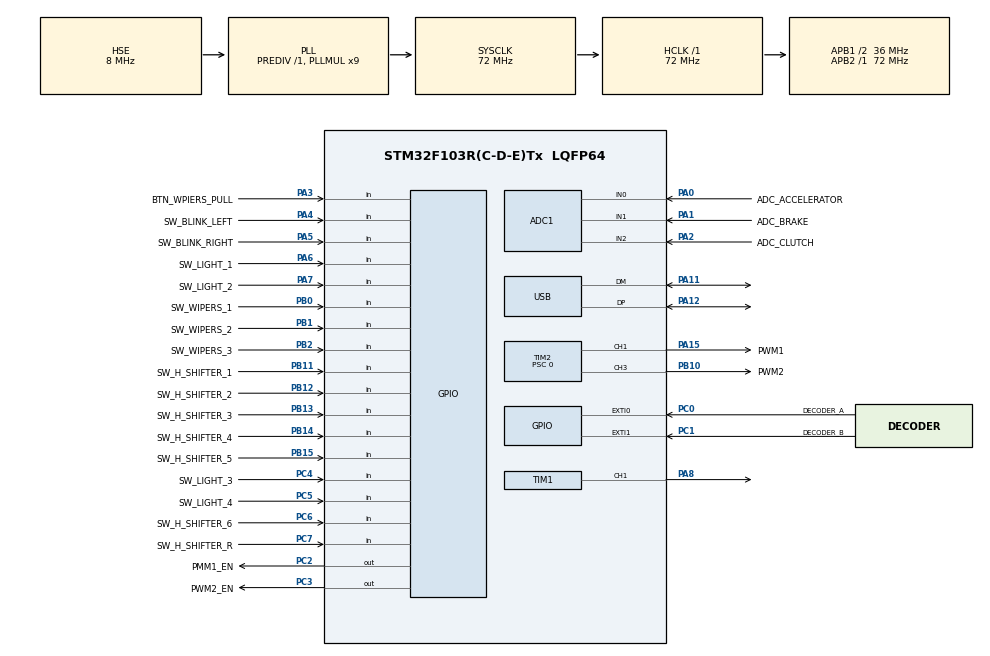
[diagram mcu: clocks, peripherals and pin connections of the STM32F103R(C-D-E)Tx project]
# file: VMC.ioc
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ADC1.Channel-2\#ChannelRegularConversion=ADC_CHANNEL_0
ADC1.Channel-3\#ChannelRegularConversion=ADC_CHANNEL_1
ADC1.Channel-4\#ChannelRegularConversion=ADC_CHANNEL_2
ADC1.ContinuousConvMode=ENABLE
ADC1.DataAlign=ADC_DATAALIGN_RIGHT
ADC1.NbrOfConversion=3
ADC1.NbrOfConversionFlag=1
ADC1.Rank-2\#ChannelRegularConversion=1
ADC1.Rank-3\#ChannelRegularConversion=2
ADC1.Rank-4\#ChannelRegularConversion=3
ADC1.SamplingTime-2\#ChannelRegularConversion=ADC_SAMPLETIME_239CYCLES_5
ADC1.SamplingTime-3\#ChannelRegularConversion=ADC_SAMPLETIME_239CYCLES_5
ADC1.SamplingTime-4\#ChannelRegularConversion=ADC_SAMPLETIME_239CYCLES_5
ADC1.master=1
Dma.ADC1.0.Direction=DMA_PERIPH_TO_MEMORY
Dma.ADC1.0.Instance=DMA1_Channel1
Dma.ADC1.0.MemDataAlignment=DMA_MDATAALIGN_WORD
Dma.ADC1.0.MemInc=DMA_MINC_ENABLE
Dma.ADC1.0.Mode=DMA_CIRCULAR
Dma.ADC1.0.PeriphDataAlignment=DMA_PDATAALIGN_WORD
Dma.ADC1.0.PeriphInc=DMA_PINC_DISABLE
Dma.ADC1.0.Priority=DMA_PRIORITY_LOW
Dma.Request0=ADC1
FREERTOS.MEMORY_ALLOCATION=2
FREERTOS.Tasks01=LEDTask,0,128,StartLEDTask,Default,NULL,Dynamic,NULL,NULL;USBOutputTask,0,512,StartUSBOutputTask,Default,NULL,Dynamic,NULL,NULL;SynthesizerTask,0,256,StartSynthesizerTask,Default,NULL,Dynamic,NULL,NULL;USBInputTask,0,512,StartUSBInputTask,Default,NULL,Dynamic,NULL,NULL
FREERTOS.configTIMER_QUEUE_LENGTH=18
FREERTOS.configTIMER_TASK_PRIORITY=5
FREERTOS.configTOTAL_HEAP_SIZE=8192
FREERTOS.configUSE_NEWLIB_REENTRANT=1
FREERTOS.configUSE_TIMERS=1
Mcu.Family=STM32F1
Mcu.Name=STM32F103R(C-D-E)Tx
Mcu.Package=LQFP64
NVIC.DMA1_Channel1_IRQn=true\:5\:0\:true\:false\:true\:true\:false\:true\:true
NVIC.EXTI0_IRQn=true\:5\:0\:true\:false\:true\:true\:true\:true\:true
NVIC.EXTI1_IRQn=true\:5\:0\:true\:false\:true\:true\:true\:true\:true
NVIC.PriorityGroup=NVIC_PRIORITYGROUP_4
NVIC.TIM3_IRQn=true\:15\:0\:false\:false\:true\:false\:false\:true\:true
NVIC.TIM4_IRQn=true\:5\:0\:false\:false\:true\:true\:true\:true\:true
NVIC.TimeBase=TIM3_IRQn
NVIC.TimeBaseIP=TIM3
NVIC.USB_LP_CAN1_RX0_IRQn=true\:5\:0\:false\:false\:true\:true\:false\:true\:true
PA0-WKUP.GPIO_Label=ADC_ACCELERATOR
PA0-WKUP.Signal=ADCx_IN0
PA1.GPIO_Label=ADC_BRAKE
PA1.Signal=ADCx_IN1
PA11.Mode=Device
PA11.Signal=USB_DM
PA12.Mode=Device
PA12.Signal=USB_DP
PA13.Mode=Trace_Asynchronous_SW
PA13.Signal=SYS_JTMS-SWDIO
PA14.Mode=Trace_Asynchronous_SW
PA14.Signal=SYS_JTCK-SWCLK
PA15.GPIO_Label=PWM1
PA15.Signal=S_TIM2_CH1_ETR
PA2.GPIO_Label=ADC_CLUTCH
PA2.Signal=ADCx_IN2
PA3.GPIO_Label=BTN_WPIERS_PULL
PA3.GPIO_PuPd=GPIO_PULLUP
PA3.Signal=GPIO_Input
PA4.GPIO_Label=SW_BLINK_LEFT
PA4.GPIO_PuPd=GPIO_PULLUP
PA4.Signal=GPIO_Input
PA5.GPIO_Label=SW_BLINK_RIGHT
PA5.GPIO_PuPd=GPIO_PULLUP
PA5.Signal=GPIO_Input
PA6.GPIO_Label=SW_LIGHT_1
PA6.GPIO_PuPd=GPIO_PULLUP
PA6.Signal=GPIO_Input
PA7.GPIO_Label=SW_LIGHT_2
PA7.GPIO_PuPd=GPIO_PULLUP
PA7.Signal=GPIO_Input
PA8.Signal=S_TIM1_CH1
PB0.GPIO_Label=SW_WIPERS_1
PB0.GPIO_PuPd=GPIO_PULLUP
PB0.Signal=GPIO_Input
PB1.GPIO_Label=SW_WIPERS_2
PB1.GPIO_PuPd=GPIO_PULLUP
PB1.Signal=GPIO_Input
PB10.GPIO_Label=PWM2
PB10.Signal=S_TIM2_CH3
PB11.GPIO_Label=SW_H_SHIFTER_1
PB11.GPIO_PuPd=GPIO_PULLUP
PB11.Signal=GPIO_Input
PB12.GPIO_Label=SW_H_SHIFTER_2
PB12.GPIO_PuPd=GPIO_PULLUP
PB12.Signal=GPIO_Input
PB13.GPIO_Label=SW_H_SHIFTER_3
PB13.GPIO_PuPd=GPIO_PULLUP
PB13.Signal=GPIO_Input
PB14.GPIO_Label=SW_H_SHIFTER_4
PB14.GPIO_PuPd=GPIO_PULLUP
PB14.Signal=GPIO_Input
PB15.GPIO_Label=SW_H_SHIFTER_5
PB15.GPIO_PuPd=GPIO_PULLUP
PB15.Signal=GPIO_Input
PB2.GPIO_Label=SW_WIPERS_3
PB2.GPIO_PuPd=GPIO_PULLUP
PB2.Signal=GPIO_Input
PB3.Mode=Trace_Asynchronous_SW
PB3.Signal=SYS_JTDO-TRACESWO
PC0.GPIO_Label=DECODER_A
PC0.GPIO_ModeDefaultEXTI=GPIO_MODE_IT_RISING_FALLING
PC0.GPIO_PuPd=GPIO_PULLUP
PC0.Signal=GPXTI0
PC1.GPIO_Label=DECODER_B
PC1.GPIO_ModeDefaultEXTI=GPIO_MODE_IT_RISING_FALLING
PC1.GPIO_PuPd=GPIO_PULLUP
PC1.Signal=GPXTI1
PC14-OSC32_IN.Mode=LSE-External-Oscillator
PC14-OSC32_IN.Signal=RCC_OSC32_IN
PC15-OSC32_OUT.Mode=LSE-External-Oscillator
PC15-OSC32_OUT.Signal=RCC_OSC32_OUT
PC2.GPIO_Label=PMM1_EN
PC2.GPIO_PuPd=GPIO_PULLUP
PC2.Signal=GPIO_Output
PC3.GPIO_Label=PWM2_EN
PC3.GPIO_PuPd=GPIO_PULLUP
PC3.Signal=GPIO_Output
PC4.GPIO_Label=SW_LIGHT_3
PC4.GPIO_PuPd=GPIO_PULLUP
PC4.Signal=GPIO_Input
PC5.GPIO_Label=SW_LIGHT_4
PC5.GPIO_PuPd=GPIO_PULLUP
PC5.Signal=GPIO_Input
PC6.GPIO_Label=SW_H_SHIFTER_6
PC6.GPIO_PuPd=GPIO_PULLUP
PC6.Signal=GPIO_Input
PC7.GPIO_Label=SW_H_SHIFTER_R
PC7.GPIO_PuPd=GPIO_PULLUP
PC7.Signal=GPIO_Input
PD0-OSC_IN.Mode=HSE-External-Oscillator
PD0-OSC_IN.Signal=RCC_OSC_IN
PD1-OSC_OUT.Mode=HSE-External-Oscillator
PD1-OSC_OUT.Signal=RCC_OSC_OUT
ProjectManager.HeapSize=0x4000
ProjectManager.StackSize=0x4000
ProjectManager.TargetToolchain=STM32CubeIDE
RCC.ADCPresc=RCC_ADCPCLK2_DIV6
RCC.AHBFreq_Value=72000000
RCC.APB1CLKDivider=RCC_HCLK_DIV2
RCC.APB1Freq_Value=36000000
RCC.APB1TimFreq_Value=72000000
RCC.APB2Freq_Value=72000000
RCC.APB2TimFreq_Value=72000000
RCC.HCLKFreq_Value=72000000
RCC.PLLMUL=RCC_PLL_MUL9
RCC.PLLSourceVirtual=RCC_PLLSOURCE_HSE
RCC.SYSCLKFreq_VALUE=72000000
RCC.SYSCLKSource=RCC_SYSCLKSOURCE_PLLCLK
RCC.USBFreq_Value=48000000
RCC.USBPrescaler=RCC_USBCLKSOURCE_PLL_DIV1_5
SH.ADCx_IN0.0=ADC1_IN0,IN0
SH.ADCx_IN1.0=ADC1_IN1,IN1
SH.ADCx_IN2.0=ADC1_IN2,IN2
SH.S_TIM1_CH1.0=TIM1_CH1,PWM Generation1 CH1
SH.S_TIM2_CH1_ETR.0=TIM2_CH1,PWM Generation1 CH1
SH.S_TIM2_CH3.0=TIM2_CH3,PWM Generation3 CH3
TIM1.BreakPolarity=TIM_BREAKPOLARITY_HIGH
TIM1.Channel-PWM\ Generation1\ CH1=TIM_CHANNEL_1
TIM1.OCPolarity_1=TIM_OCPOLARITY_HIGH
TIM1.Period=1000-1
TIM1.Prescaler=72-1
TIM2.Channel-PWM\ Generation1\ CH1=TIM_CHANNEL_1
TIM2.Channel-PWM\ Generation3\ CH3=TIM_CHANNEL_3
TIM2.OCPolarity_1=TIM_OCPOLARITY_HIGH
TIM2.OCPolarity_3=TIM_OCPOLARITY_HIGH
TIM2.Period=3000-1
TIM2.Prescaler=0
TIM2.Pulse-PWM\ Generation1\ CH1=0
TIM4.AutoReloadPreload=TIM_AUTORELOAD_PRELOAD_ENABLE
TIM4.Period=1500-1
TIM4.Prescaler=7200-1
USB_DEVICE.CLASS_NAME_FS=CUSTOM_HID
USB_DEVICE.CUSTOM_HID_FS_BINTERVAL=0x1
USB_DEVICE.MANUFACTURER_STRING=Sab1e Studio
USB_DEVICE.PID_CUSTOMHID_FS=100
USB_DEVICE.PRODUCT_STRING_CUSTOMHID_FS=VMC
USB_DEVICE.USBD_CUSTOMHID_OUTREPORT_BUF_SIZE=64
USB_DEVICE.USBD_CUSTOM_HID_REPORT_DESC_SIZE=941
USB_DEVICE.VID=4660
USB_DEVICE.VirtualMode=CustomHid
USB_DEVICE.VirtualModeFS=Custom_Hid_FS
VP_FREERTOS_VS_CMSIS_V1.Mode=CMSIS_V1
VP_SYS_VS_tim3.Mode=TIM3
VP_TIM1_VS_ClockSourceINT.Mode=Internal
VP_TIM2_VS_ClockSourceINT.Mode=Internal
VP_TIM4_VS_ClockSourceINT.Mode=Internal
VP_USB_DEVICE_VS_USB_DEVICE_CUSTOM_HID_FS.Mode=CUSTOM_HID_FS
board=custom

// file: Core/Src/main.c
/* USER CODE BEGIN Header */
/**
 ******************************************************************************
 * @file           : main.c
 * @brief          : Main program body
 ******************************************************************************
 * @attention
 *
 * Copyright (c) 2024 STMicroelectronics.
 * All rights reserved.
 *
 * This software is licensed under terms that can be found in the LICENSE file
 * in the root directory of this software component.
 * If no LICENSE file comes with this software, it is provided AS-IS.
 *
 ******************************************************************************
 */
/* USER CODE END Header */
#include "main.h"
#include "cmsis_os.h"
#include "usb_device.h"

/* USER CODE BEGIN Includes */

#include "global.h"

extern uint8_t USB_Out_Flag;
extern uint8_t USB_Out_Buffer[USB_OUT_BUFFER_SIZE];

/* USER CODE END Includes */

/* USER CODE BEGIN PD */
//发送报告
#define SendReport(report) \
    USBD_CUSTOM_HID_SendReport(&hUsbDeviceFS, (uint8_t*)&report, sizeof(report))

#define TIM_PERIOD (50 - 1)

#define TOGGLE_LED 		HAL_GPIO_TogglePin(GPIO_LED, GPIO_PIN_LED);

/* USER CODE END PD */

/* USER CODE BEGIN PM */

typedef struct {
	float_t Kp;         // 比例增益
	float_t Ki;         // 积分增益
	float_t Kd;         // 微分增益
	float_t previous_error; // 上一次误差
	float_t integral;   // 积分值
} SL_PID_Controller_t;

typedef struct {
	uint8_t mode;		// 震动模式
	uint16_t delay;		// 震动延迟
	uint8_t coefficient;		// Ramp模式下的震动系数 Ramp模式下震动延迟=系数*角度
} SL_Vibration_Feedback_t;

/* USER CODE END PM */

ADC_HandleTypeDef hadc1;
DMA_HandleTypeDef hdma_adc1;

TIM_HandleTypeDef htim1;
TIM_HandleTypeDef htim2;
TIM_HandleTypeDef htim4;

osThreadId LEDTaskHandle;
osThreadId USBOutputTaskHandle;
osThreadId SynthesizerTaskHandle;
osThreadId USBInputTaskHandle;
/* USER CODE BEGIN PV */

uint32_t adc_values[3];

uint8_t Current_Report_ID = INPUT_REPORT_ID;

// PID控制器实例
SL_PID_Controller_t sl_pid;
// 在合成效果之前初始化PID
float_t SL_KP = 200.0f;
float_t SL_KI = 1.0f;
float_t SL_KD = 1.0f;
uint32_t sl_pid_last_time = 0; // 获取开始时间

SL_Vibration_Feedback_t SL_Vibration_Feedback = { .mode =
				SL_Vibration_Feedback_CONSTANT, .delay = 200, };

float_t angle_per_pulse = 0;
// 初始化踏板限位
Pedal_Limiter_t Pedal_Limiter = { .accelerator_pedal_maximum = ADC_MAX_VALUE,
				.accelerator_pedal_minimum = 0, .brake_pedal_set_maximum =
				ADC_MAX_VALUE, .brake_pedal_set_minimum = 0,
				.clutch_pedal_set_maximum = ADC_MAX_VALUE,
				.clutch_pedal_set_minimum = 0 };

/* USER CODE END PV */

void SystemClock_Config(void);
static void MX_GPIO_Init(void);
static void MX_DMA_Init(void);
static void MX_ADC1_Init(void);
static void MX_TIM2_Init(void);
static void MX_TIM1_Init(void);
static void MX_TIM4_Init(void);
void StartLEDTask(void const *argument);
void StartUSBOutputTask(void const *argument);
void StartSynthesizerTask(void const *argument);
void StartUSBInputTask(void const *argument);

/* USER CODE BEGIN 0 */

// SL = Software  Limiter
void SL_PID_Init(SL_PID_Controller_t *pid, float_t Kp, float_t Ki, float_t Kd) {
	pid->Kp = Kp;
	pid->Ki = Ki;
	pid->Kd = Kd;
	pid->previous_error = 0.0f;
	pid->integral = 0.0f;
}

//PID计算的是角度
float_t SL_PID_Compute(SL_PID_Controller_t *pid, float_t setpoint,
				float_t measured_value, float_t dt) {
	float_t error = setpoint - measured_value;
	pid->integral += error * dt;
	float_t derivative = error - pid->previous_error;
	pid->previous_error = error;

	return pid->Kp * error + pid->Ki * pid->integral + pid->Kd * derivative;
}
void HAL_ADC_ConvCpltCallback(ADC_HandleTypeDef *hadc) {
	if (hadc->Instance == ADC1) {
		uint16_t raw_accelerator = adc_values[0];
		uint16_t raw_brake = adc_values[1];
		uint16_t raw_clutch = adc_values[2];
		// 处理加速踏板
		if (raw_accelerator < Pedal_Limiter.accelerator_pedal_minimum) {
			raw_accelerator = Pedal_Limiter.accelerator_pedal_minimum; // 限位到最小值
		} else if (raw_accelerator > Pedal_Limiter.accelerator_pedal_maximum) {
			raw_accelerator = Pedal_Limiter.accelerator_pedal_maximum; // 限位到最大值
		}
		// 将限位后的值映射到0~4095
		Input_Report.accelerator =
						(uint16_t) ((float) (raw_accelerator
										- Pedal_Limiter.accelerator_pedal_minimum)
										/ (Pedal_Limiter.accelerator_pedal_maximum
														- Pedal_Limiter.accelerator_pedal_minimum)
										* 4095);

		// 处理刹车踏板
		if (raw_brake < Pedal_Limiter.brake_pedal_set_minimum) {
			raw_brake = Pedal_Limiter.brake_pedal_set_minimum; // 限位到最小值
		} else if (raw_brake > Pedal_Limiter.brake_pedal_set_maximum) {
			raw_brake = Pedal_Limiter.brake_pedal_set_maximum; // 限位到最大值
		}
		// 将限位后的值映射到0~4095
		Input_Report.brake = (uint16_t) ((float) (raw_brake
						- Pedal_Limiter.brake_pedal_set_minimum)
						/ (Pedal_Limiter.brake_pedal_set_maximum
										- Pedal_Limiter.brake_pedal_set_minimum)
						* 4095);

		// 处理离合器踏板
		if (raw_clutch < Pedal_Limiter.clutch_pedal_set_minimum) {
			raw_clutch = Pedal_Limiter.clutch_pedal_set_minimum; // 限位到最小值
		} else if (raw_clutch > Pedal_Limiter.clutch_pedal_set_maximum) {
			raw_clutch = Pedal_Limiter.clutch_pedal_set_maximum; // 限位到最大值
		}
		// 将限位后的值映射到0~4095
		Input_Report.clutch =
						(uint16_t) ((float) (raw_clutch
										- Pedal_Limiter.clutch_pedal_set_minimum)
										/ (Pedal_Limiter.clutch_pedal_set_maximum
														- Pedal_Limiter.clutch_pedal_set_minimum)
										* 4095);
	}
}

uint32_t Read_Keys(void) {
	uint32_t key_state = 0;
	//按下是0，没按下是1
	// 检测 雨刮喷水
	key_state |= (GPIOA->IDR & GPIO_PIN_3) ? 0 : (1 << 0);  // PA3
	// 检测 左转向灯
	key_state |= (GPIOA->IDR & GPIO_PIN_4) ? 0 : (1 << 1);  // PA4
	// 检测 右转向灯
	key_state |= (GPIOA->IDR & GPIO_PIN_5) ? 0 : (1 << 2);  // PA5
	/*=================灯光组合==================*/
	// 发送灯光关闭信号
	key_state |= (GPIOA->IDR & GPIO_PIN_6) && (GPIOA->IDR & GPIO_PIN_7)
					&& (GPIOC->IDR & GPIO_PIN_4) && (GPIOC->IDR & GPIO_PIN_5) ?
					(1 << 3) : 0;
	// 发送示宽灯信号（条件：示宽灯开启，且未开启近光灯）
	key_state |= (!(GPIOC->IDR & GPIO_PIN_4) && (GPIOA->IDR & GPIO_PIN_6)
					&& (GPIOA->IDR & GPIO_PIN_7)) ? (1 << 4) : 0;

	// 发送近光灯信号（条件：近光灯开启）
	key_state |= (!(GPIOA->IDR & GPIO_PIN_6)) ? (1 << 5) : 0;

	// 发送远光灯信号（条件：远光灯开启）
	key_state |= (!(GPIOC->IDR & GPIO_PIN_5)) ? (1 << 6) : 0;
	/*==================雨刮器组合==================*/
	// 雨刮器关闭
	key_state |= (!(GPIOB->IDR & GPIO_PIN_0)) && (GPIOB->IDR & GPIO_PIN_1)
					&& (GPIOB->IDR & GPIO_PIN_2) ? (1 << 7) : 0;  // PB0
	// 雨刮器一档
	key_state |= (!(GPIOB->IDR & GPIO_PIN_1)) ? (1 << 8) : 0;  // PB1
	// 雨刮器二挡
	key_state |= (GPIOB->IDR & GPIO_PIN_0) && (GPIOB->IDR & GPIO_PIN_1)
					&& (!(GPIOB->IDR & GPIO_PIN_2)) ? (1 << 9) : 0;  // PB2
	// 雨刮器三挡
	key_state |= (GPIOB->IDR & GPIO_PIN_2) && (GPIOB->IDR & GPIO_PIN_0)
					&& (GPIOB->IDR & GPIO_PIN_1) ? (1 << 10) : 0;  // PB2
	/*==================H档位组合==================*/
	// 检测 PB11
	key_state |= (GPIOB->IDR & GPIO_PIN_11) ? 0 : (1 << 11);  // PB11
	// 检测 PB12
	key_state |= (GPIOB->IDR & GPIO_PIN_12) ? 0 : (1 << 12);  // PB12
	// 检测 PB13
	key_state |= (GPIOB->IDR & GPIO_PIN_13) ? 0 : (1 << 13);  // PB13
	// 检测 PB14
	key_state |= (GPIOB->IDR & GPIO_PIN_14) ? 0 : (1 << 14);  // PB14
	// 检测 PB15
	key_state |= (GPIOB->IDR & GPIO_PIN_15) ? 0 : (1 << 15);  // PB15

	// 检测 PC6
	key_state |= (GPIOC->IDR & GPIO_PIN_6) ? 0 : (1 << 16);  // PC6
	// 检测 PC7
	key_state |= (GPIOC->IDR & GPIO_PIN_7) ? 0 : (1 << 17);  // PC7

	return key_state;
}

/**
 * @brief 处理编码器的引脚状态发生变化时的回调
 * @param GPIO_Pin 触发回调的引脚
 * @return 无返回
 */
void HAL_GPIO_EXTI_Callback(uint16_t GPIO_Pin) {
	uint8_t current_state;

	if (GPIO_Pin == GPIO_PIN_DECODER_A || GPIO_Pin == GPIO_PIN_DECODER_B) {
		current_state = ((GPIO_DECODER_A->IDR & GPIO_PIN_DECODER_A) ? 1 : 0)
						<< 1
						| (GPIO_DECODER_B->IDR & GPIO_PIN_DECODER_B ? 1 : 0);

		// 根据状态变化更新脉冲计数
		switch (Steering_Wheel.encoder.previous_state) {
		case 0b00:
			if (current_state == 0b01)
				Steering_Wheel.encoder.pulse_count++;  // A上升
			else if (current_state == 0b10)
				Steering_Wheel.encoder.pulse_count--; // B上升
			break;
		case 0b01:
			if (current_state == 0b11)
				Steering_Wheel.encoder.pulse_count++;  // A保持，B上升
			else if (current_state == 0b00)
				Steering_Wheel.encoder.pulse_count--; // B下降
			break;
		case 0b11:
			if (current_state == 0b10)
				Steering_Wheel.encoder.pulse_count++;  // B下降
			else if (current_state == 0b01)
				Steering_Wheel.encoder.pulse_count--; // A下降
			break;
		case 0b10:
			if (current_state == 0b00)
				Steering_Wheel.encoder.pulse_count++;  // B保持，A下降
			else if (current_state == 0b11)
				Steering_Wheel.encoder.pulse_count--; // A上升
			break;
		}

		Steering_Wheel.encoder.previous_state = current_state;  // 更新状态
	}
}

// 通用的函数：设置 uint16 类型并限制范围
void CMD_Set_uint16(uint16_t *param, uint16_t min, uint16_t max,
				uint16_t *target) {
	*param = (*param < min) ? min : (*param > max) ? max : *param;
	*target = *param;
}

// 通用的函数：设置 float 类型并限制范围
void CMD_Set_float_from_buffer(uint8_t *USB_Out_Buffer, size_t start_idx,
				float_t min, float_t max, float_t *target) {
	// 从 USB_Out_Buffer 中读取 4 个字节到浮点数
	float_t parameter;
	memcpy(&parameter, &USB_Out_Buffer[start_idx], sizeof(parameter));

	// 限制 parameter 在 min 和 max 之间
	*target = (parameter < min) ? min : (parameter > max) ? max : parameter;
}

// 用于从字节数组获取参数的函数
uint64_t Get_uint64_from_buffer(uint8_t *USB_Out_Buffer, size_t start_idx) {
	return USB_Out_Buffer[start_idx] | (USB_Out_Buffer[start_idx + 1] << 8)
					| (USB_Out_Buffer[start_idx + 2] << 16)
					| (USB_Out_Buffer[start_idx + 3] << 24);
}
/*==================软限位使用的PID==================*/

/* USER CODE END 0 */

int main(void) {

	/* MCU Configuration--------------------------------------------------------*/

	/* Reset of all peripherals, Initializes the Flash interface and the Systick. */
	HAL_Init();

	/* Configure the system clock */
	SystemClock_Config();

	/* Initialize all configured peripherals */
	MX_GPIO_Init();
	MX_DMA_Init();
	MX_ADC1_Init();
	MX_TIM2_Init();
	MX_TIM1_Init();
	MX_TIM4_Init();
	/* USER CODE BEGIN 2 */
	HAL_GPIO_WritePin(GPIO_PWM1, GPIO_PIN_PWM1, GPIO_PIN_RESET);
	HAL_GPIO_WritePin(GPIO_PWM2, GPIO_PIN_PWM2, GPIO_PIN_RESET);
	HAL_TIM_Base_Start_IT(&htim4); // 启动定时器并使能中断
	HAL_TIM_PWM_Start(&htim1, TIM_CHANNEL_1);
	/* USER CODE END 2 */

	/* Create the thread(s) */
	/* definition and creation of LEDTask */
	osThreadDef(LEDTask, StartLEDTask, osPriorityNormal, 0, 128);
	LEDTaskHandle = osThreadCreate(osThread(LEDTask), NULL);

	/* definition and creation of USBOutputTask */
	osThreadDef(USBOutputTask, StartUSBOutputTask, osPriorityNormal, 0, 512);
	USBOutputTaskHandle = osThreadCreate(osThread(USBOutputTask), NULL);

	/* definition and creation of SynthesizerTask */
	osThreadDef(SynthesizerTask, StartSynthesizerTask, osPriorityNormal, 0,
					256);
	SynthesizerTaskHandle = osThreadCreate(osThread(SynthesizerTask), NULL);

	/* definition and creation of USBInputTask */
	osThreadDef(USBInputTask, StartUSBInputTask, osPriorityNormal, 0, 512);
	USBInputTaskHandle = osThreadCreate(osThread(USBInputTask), NULL);

	/* USER CODE BEGIN RTOS_THREADS */
	/* add threads, ... */
//  Start_ADC_DMA();
//  HAL_TIM_PWM_Start(&htim2, TIM_CHANNEL_1);
//  HAL_TIM_PWM_Start(&htim2, TIM_CHANNEL_3);
	/* USER CODE END RTOS_THREADS */

	/* Start scheduler */
	osKernelStart();

	/* We should never get here as control is now taken by the scheduler */

	/* Infinite loop */
	while (1) {

	}
}

void SystemClock_Config(void) {
	RCC_OscInitTypeDef RCC_OscInitStruct = { 0 };
	RCC_ClkInitTypeDef RCC_ClkInitStruct = { 0 };
	RCC_PeriphCLKInitTypeDef PeriphClkInit = { 0 };

	/** Initializes the RCC Oscillators according to the specified parameters
	 * in the RCC_OscInitTypeDef structure.
	 */
	RCC_OscInitStruct.OscillatorType = RCC_OSCILLATORTYPE_HSE;
	RCC_OscInitStruct.HSEState = RCC_HSE_ON;
	RCC_OscInitStruct.HSEPredivValue = RCC_HSE_PREDIV_DIV1;
	RCC_OscInitStruct.HSIState = RCC_HSI_ON;
	RCC_OscInitStruct.PLL.PLLState = RCC_PLL_ON;
	RCC_OscInitStruct.PLL.PLLSource = RCC_PLLSOURCE_HSE;
	RCC_OscInitStruct.PLL.PLLMUL = RCC_PLL_MUL9;
	if (HAL_RCC_OscConfig(&RCC_OscInitStruct) != HAL_OK) {
		Error_Handler();
	}

	/** Initializes the CPU, AHB and APB buses clocks
	 */
	RCC_ClkInitStruct.ClockType = RCC_CLOCKTYPE_HCLK | RCC_CLOCKTYPE_SYSCLK
					| RCC_CLOCKTYPE_PCLK1 | RCC_CLOCKTYPE_PCLK2;
	RCC_ClkInitStruct.SYSCLKSource = RCC_SYSCLKSOURCE_PLLCLK;
	RCC_ClkInitStruct.AHBCLKDivider = RCC_SYSCLK_DIV1;
	RCC_ClkInitStruct.APB1CLKDivider = RCC_HCLK_DIV2;
	RCC_ClkInitStruct.APB2CLKDivider = RCC_HCLK_DIV1;

	if (HAL_RCC_ClockConfig(&RCC_ClkInitStruct, FLASH_LATENCY_2) != HAL_OK) {
		Error_Handler();
	}
	PeriphClkInit.PeriphClockSelection = RCC_PERIPHCLK_ADC | RCC_PERIPHCLK_USB;
	PeriphClkInit.AdcClockSelection = RCC_ADCPCLK2_DIV6;
	PeriphClkInit.UsbClockSelection = RCC_USBCLKSOURCE_PLL_DIV1_5;
	if (HAL_RCCEx_PeriphCLKConfig(&PeriphClkInit) != HAL_OK) {
		Error_Handler();
	}
}

static void MX_ADC1_Init(void) {

	ADC_ChannelConfTypeDef sConfig = { 0 };

	/** Common config
	 */
	hadc1.Instance = ADC1;
	hadc1.Init.ScanConvMode = ADC_SCAN_ENABLE;
	hadc1.Init.ContinuousConvMode = ENABLE;
	hadc1.Init.DiscontinuousConvMode = DISABLE;
	hadc1.Init.ExternalTrigConv = ADC_SOFTWARE_START;
	hadc1.Init.DataAlign = ADC_DATAALIGN_RIGHT;
	hadc1.Init.NbrOfConversion = 3;
	if (HAL_ADC_Init(&hadc1) != HAL_OK) {
		Error_Handler();
	}

	/** Configure Regular Channel
	 */
	sConfig.Channel = ADC_CHANNEL_0;
	sConfig.Rank = ADC_REGULAR_RANK_1;
	sConfig.SamplingTime = ADC_SAMPLETIME_239CYCLES_5;
	if (HAL_ADC_ConfigChannel(&hadc1, &sConfig) != HAL_OK) {
		Error_Handler();
	}

	/** Configure Regular Channel
	 */
	sConfig.Channel = ADC_CHANNEL_1;
	sConfig.Rank = ADC_REGULAR_RANK_2;
	if (HAL_ADC_ConfigChannel(&hadc1, &sConfig) != HAL_OK) {
		Error_Handler();
	}

	/** Configure Regular Channel
	 */
	sConfig.Channel = ADC_CHANNEL_2;
	sConfig.Rank = ADC_REGULAR_RANK_3;
	if (HAL_ADC_ConfigChannel(&hadc1, &sConfig) != HAL_OK) {
		Error_Handler();
	}

}

static void MX_TIM1_Init(void) {

	TIM_ClockConfigTypeDef sClockSourceConfig = { 0 };
	TIM_MasterConfigTypeDef sMasterConfig = { 0 };
	TIM_OC_InitTypeDef sConfigOC = { 0 };
	TIM_BreakDeadTimeConfigTypeDef sBreakDeadTimeConfig = { 0 };

	htim1.Instance = TIM1;
	htim1.Init.Prescaler = 72 - 1;
	htim1.Init.CounterMode = TIM_COUNTERMODE_UP;
	htim1.Init.Period = 1000 - 1;
	htim1.Init.ClockDivision = TIM_CLOCKDIVISION_DIV1;
	htim1.Init.RepetitionCounter = 0;
	htim1.Init.AutoReloadPreload = TIM_AUTORELOAD_PRELOAD_DISABLE;
	if (HAL_TIM_Base_Init(&htim1) != HAL_OK) {
		Error_Handler();
	}
	sClockSourceConfig.ClockSource = TIM_CLOCKSOURCE_INTERNAL;
	if (HAL_TIM_ConfigClockSource(&htim1, &sClockSourceConfig) != HAL_OK) {
		Error_Handler();
	}
	if (HAL_TIM_PWM_Init(&htim1) != HAL_OK) {
		Error_Handler();
	}
	sMasterConfig.MasterOutputTrigger = TIM_TRGO_RESET;
	sMasterConfig.MasterSlaveMode = TIM_MASTERSLAVEMODE_DISABLE;
	if (HAL_TIMEx_MasterConfigSynchronization(&htim1, &sMasterConfig)
					!= HAL_OK) {
		Error_Handler();
	}
	sConfigOC.OCMode = TIM_OCMODE_PWM1;
	sConfigOC.Pulse = 0;
	sConfigOC.OCPolarity = TIM_OCPOLARITY_HIGH;
	sConfigOC.OCNPolarity = TIM_OCNPOLARITY_HIGH;
	sConfigOC.OCFastMode = TIM_OCFAST_DISABLE;
	sConfigOC.OCIdleState = TIM_OCIDLESTATE_RESET;
	sConfigOC.OCNIdleState = TIM_OCNIDLESTATE_RESET;
	if (HAL_TIM_PWM_ConfigChannel(&htim1, &sConfigOC, TIM_CHANNEL_1)
					!= HAL_OK) {
		Error_Handler();
	}
	sBreakDeadTimeConfig.OffStateRunMode = TIM_OSSR_DISABLE;
	sBreakDeadTimeConfig.OffStateIDLEMode = TIM_OSSI_DISABLE;
	sBreakDeadTimeConfig.LockLevel = TIM_LOCKLEVEL_OFF;
	sBreakDeadTimeConfig.DeadTime = 0;
	sBreakDeadTimeConfig.BreakState = TIM_BREAK_DISABLE;
	sBreakDeadTimeConfig.BreakPolarity = TIM_BREAKPOLARITY_HIGH;
	sBreakDeadTimeConfig.AutomaticOutput = TIM_AUTOMATICOUTPUT_DISABLE;
	if (HAL_TIMEx_ConfigBreakDeadTime(&htim1, &sBreakDeadTimeConfig)
					!= HAL_OK) {
		Error_Handler();
	}
	HAL_TIM_MspPostInit(&htim1);

}

static void MX_TIM2_Init(void) {

	TIM_ClockConfigTypeDef sClockSourceConfig = { 0 };
	TIM_MasterConfigTypeDef sMasterConfig = { 0 };
	TIM_OC_InitTypeDef sConfigOC = { 0 };

	htim2.Instance = TIM2;
	htim2.Init.Prescaler = 0;
	htim2.Init.CounterMode = TIM_COUNTERMODE_UP;
	htim2.Init.Period = 3000 - 1;
	htim2.Init.ClockDivision = TIM_CLOCKDIVISION_DIV1;
	htim2.Init.AutoReloadPreload = TIM_AUTORELOAD_PRELOAD_DISABLE;
	if (HAL_TIM_Base_Init(&htim2) != HAL_OK) {
		Error_Handler();
	}
	sClockSourceConfig.ClockSource = TIM_CLOCKSOURCE_INTERNAL;
	if (HAL_TIM_ConfigClockSource(&htim2, &sClockSourceConfig) != HAL_OK) {
		Error_Handler();
	}
	if (HAL_TIM_PWM_Init(&htim2) != HAL_OK) {
		Error_Handler();
	}
	sMasterConfig.MasterOutputTrigger = TIM_TRGO_RESET;
	sMasterConfig.MasterSlaveMode = TIM_MASTERSLAVEMODE_DISABLE;
	if (HAL_TIMEx_MasterConfigSynchronization(&htim2, &sMasterConfig)
					!= HAL_OK) {
		Error_Handler();
	}
	sConfigOC.OCMode = TIM_OCMODE_PWM1;
	sConfigOC.Pulse = 0;
	sConfigOC.OCPolarity = TIM_OCPOLARITY_HIGH;
	sConfigOC.OCFastMode = TIM_OCFAST_DISABLE;
	if (HAL_TIM_PWM_ConfigChannel(&htim2, &sConfigOC, TIM_CHANNEL_1)
					!= HAL_OK) {
		Error_Handler();
	}
	if (HAL_TIM_PWM_ConfigChannel(&htim2, &sConfigOC, TIM_CHANNEL_3)
					!= HAL_OK) {
		Error_Handler();
	}
	HAL_TIM_MspPostInit(&htim2);

}

static void MX_TIM4_Init(void) {

	TIM_ClockConfigTypeDef sClockSourceConfig = { 0 };
	TIM_MasterConfigTypeDef sMasterConfig = { 0 };

	htim4.Instance = TIM4;
	htim4.Init.Prescaler = 7200 - 1;
	htim4.Init.CounterMode = TIM_COUNTERMODE_UP;
	htim4.Init.Period = 1500 - 1;
	htim4.Init.ClockDivision = TIM_CLOCKDIVISION_DIV1;
	htim4.Init.AutoReloadPreload = TIM_AUTORELOAD_PRELOAD_ENABLE;
	if (HAL_TIM_Base_Init(&htim4) != HAL_OK) {
		Error_Handler();
	}
	sClockSourceConfig.ClockSource = TIM_CLOCKSOURCE_INTERNAL;
	if (HAL_TIM_ConfigClockSource(&htim4, &sClockSourceConfig) != HAL_OK) {
		Error_Handler();
	}
	sMasterConfig.MasterOutputTrigger = TIM_TRGO_RESET;
	sMasterConfig.MasterSlaveMode = TIM_MASTERSLAVEMODE_DISABLE;
	if (HAL_TIMEx_MasterConfigSynchronization(&htim4, &sMasterConfig)
					!= HAL_OK) {
		Error_Handler();
	}

}

static void MX_DMA_Init(void) {

	/* DMA controller clock enable */
	__HAL_RCC_DMA1_CLK_ENABLE();

	/* DMA interrupt init */
	/* DMA1_Channel1_IRQn interrupt configuration */
	HAL_NVIC_SetPriority(DMA1_Channel1_IRQn, 5, 0);
	HAL_NVIC_EnableIRQ(DMA1_Channel1_IRQn);

}

static void MX_GPIO_Init(void) {
	GPIO_InitTypeDef GPIO_InitStruct = { 0 };

	/* GPIO Ports Clock Enable */
	__HAL_RCC_GPIOC_CLK_ENABLE();
	__HAL_RCC_GPIOD_CLK_ENABLE();
	__HAL_RCC_GPIOA_CLK_ENABLE();
	__HAL_RCC_GPIOB_CLK_ENABLE();

	/*Configure GPIO pin Output Level */
	HAL_GPIO_WritePin(GPIOC, PMM1_EN_Pin | PWM2_EN_Pin, GPIO_PIN_RESET);

	/*Configure GPIO pins : DECODER_A_Pin DECODER_B_Pin */
	GPIO_InitStruct.Pin = DECODER_A_Pin | DECODER_B_Pin;
	GPIO_InitStruct.Mode = GPIO_MODE_IT_RISING_FALLING;
	GPIO_InitStruct.Pull = GPIO_PULLUP;
	HAL_GPIO_Init(GPIOC, &GPIO_InitStruct);

	/*Configure GPIO pins : PMM1_EN_Pin PWM2_EN_Pin */
	GPIO_InitStruct.Pin = PMM1_EN_Pin | PWM2_EN_Pin;
	GPIO_InitStruct.Mode = GPIO_MODE_OUTPUT_PP;
	GPIO_InitStruct.Pull = GPIO_PULLUP;
	GPIO_InitStruct.Speed = GPIO_SPEED_FREQ_LOW;
	HAL_GPIO_Init(GPIOC, &GPIO_InitStruct);

	/*Configure GPIO pins : BTN_WPIERS_PULL_Pin SW_BLINK_LEFT_Pin SW_BLINK_RIGHT_Pin SW_LIGHT_1_Pin
	 SW_LIGHT_2_Pin */
	GPIO_InitStruct.Pin = BTN_WPIERS_PULL_Pin | SW_BLINK_LEFT_Pin
					| SW_BLINK_RIGHT_Pin | SW_LIGHT_1_Pin | SW_LIGHT_2_Pin;
	GPIO_InitStruct.Mode = GPIO_MODE_INPUT;
	GPIO_InitStruct.Pull = GPIO_PULLUP;
	HAL_GPIO_Init(GPIOA, &GPIO_InitStruct);

	/*Configure GPIO pins : SW_LIGHT_3_Pin SW_LIGHT_4_Pin SW_H_SHIFTER_6_Pin SW_H_SHIFTER_R_Pin */
	GPIO_InitStruct.Pin = SW_LIGHT_3_Pin | SW_LIGHT_4_Pin | SW_H_SHIFTER_6_Pin
					| SW_H_SHIFTER_R_Pin;
	GPIO_InitStruct.Mode = GPIO_MODE_INPUT;
	GPIO_InitStruct.Pull = GPIO_PULLUP;
	HAL_GPIO_Init(GPIOC, &GPIO_InitStruct);

	/*Configure GPIO pins : SW_WIPERS_1_Pin SW_WIPERS_2_Pin SW_WIPERS_3_Pin SW_H_SHIFTER_1_Pin
	 SW_H_SHIFTER_2_Pin SW_H_SHIFTER_3_Pin SW_H_SHIFTER_4_Pin SW_H_SHIFTER_5_Pin */
	GPIO_InitStruct.Pin = SW_WIPERS_1_Pin | SW_WIPERS_2_Pin | SW_WIPERS_3_Pin
					| SW_H_SHIFTER_1_Pin | SW_H_SHIFTER_2_Pin
					| SW_H_SHIFTER_3_Pin | SW_H_SHIFTER_4_Pin
					| SW_H_SHIFTER_5_Pin;
	GPIO_InitStruct.Mode = GPIO_MODE_INPUT;
	GPIO_InitStruct.Pull = GPIO_PULLUP;
	HAL_GPIO_Init(GPIOB, &GPIO_InitStruct);

	/* EXTI interrupt init*/
	HAL_NVIC_SetPriority(EXTI0_IRQn, 5, 0);
	HAL_NVIC_EnableIRQ(EXTI0_IRQn);

	HAL_NVIC_SetPriority(EXTI1_IRQn, 5, 0);
	HAL_NVIC_EnableIRQ(EXTI1_IRQn);

}

void StartLEDTask(void const *argument) {
	/* init code for USB_DEVICE */
	MX_USB_DEVICE_Init();
	/* USER CODE BEGIN 5 */
	uint32_t duty_cycle = 0;   // 当前占空比值
	int32_t step = 10;         // 每次调整的步长
	/* Infinite loop */
	for (;;) {
		osDelay(15);
		// 设置当前占空比
		__HAL_TIM_SET_COMPARE(&htim1, TIM_CHANNEL_1, duty_cycle);

		// 调整占空比
		duty_cycle += step;

		// 检查是否达到上下限，改变方向
		if (duty_cycle >= htim1.Init.Period || duty_cycle <= 0) {
			step = -step; // 反向调整
		}
//		Calculate_Instantaneous_Angular_Velocity(0.001f);
//		SendReport(Effect_Parameter_Block_Load_Report);

//		SendReport(Input_Report);
//		Input_Report.buttons+=1;
	}
	/* USER CODE END 5 */
}

void StartUSBOutputTask(void const *argument) {
	/* USER CODE BEGIN StartUSBOutputTask */
	/* Infinite loop */
	for (;;) {
		if (USB_Out_Flag) {

			switch (USB_Out_Buffer[0]) {
			case SET_EFFECT_REPORT_ID:
				// 设置Effect Types报告
				Set_Effect_Parameter((uint8_t) USB_Out_Buffer[1],
								(Effect_TypeDef) USB_Out_Buffer[2],
								(uint16_t) (fabs(
												(USB_Out_Buffer[3]
																| (USB_Out_Buffer[4]
																				<< 8)))
												>= 30001 ?
												DURATION_INFINITE :
												(USB_Out_Buffer[3]
																| (USB_Out_Buffer[4]
																				<< 8))),
								(uint8_t) USB_Out_Buffer[5],
								(uint8_t) USB_Out_Buffer[6],
								(uint16_t) (USB_Out_Buffer[7]
												| (USB_Out_Buffer[8] << 8)),
								(uint8_t) USB_Out_Buffer[9],
								(uint8_t) USB_Out_Buffer[10],
								(uint8_t) USB_Out_Buffer[11],
								(uint8_t) USB_Out_Buffer[12]);

				break;

			case ENVELOPE_REPORT_ID:
				// 设置Envelope报告

				Add_Envelope_PB((uint8_t) USB_Out_Buffer[1],
								(uint8_t) USB_Out_Buffer[2],
								(uint8_t) USB_Out_Buffer[3],
								(uint8_t) USB_Out_Buffer[4],
								(uint8_t) USB_Out_Buffer[5]);
				break;

			case CONDITION_REPORT_ID:
				// 设置Condition报告
				Add_Condition_PB((uint8_t) USB_Out_Buffer[1],
								(int16_t) (USB_Out_Buffer[2]
												| (USB_Out_Buffer[3] << 8)),
								(int16_t) (USB_Out_Buffer[4]
												| (USB_Out_Buffer[5] << 8)),
								(int16_t) (USB_Out_Buffer[6]
												| (USB_Out_Buffer[7] << 8)),
								(uint16_t) (USB_Out_Buffer[8]
												| (USB_Out_Buffer[9] << 8)),
								(uint16_t) (USB_Out_Buffer[10]
												| (USB_Out_Buffer[11] << 8)),
								(uint16_t) (USB_Out_Buffer[12]
												| (USB_Out_Buffer[13] << 8)));
				break;

			case PERIODIC_REPORT_ID:
				// 设置Periodic报告
				Add_Periodic_PB((uint8_t) USB_Out_Buffer[1],
								(uint8_t) USB_Out_Buffer[2],
								(uint16_t) (USB_Out_Buffer[3]
												| (USB_Out_Buffer[4] << 8)),
								(int16_t) (USB_Out_Buffer[5]
												| (USB_Out_Buffer[6] << 8)),
								(uint16_t) (USB_Out_Buffer[7]
												| (USB_Out_Buffer[8] << 8)));
				break;

			case CONSTANT_FORCE_REPORT_ID:
				// 设置Constant-Force报告
				Add_Constant_Force_PB((uint8_t) USB_Out_Buffer[1],
								(int16_t) (USB_Out_Buffer[2]
												| (USB_Out_Buffer[3] << 8)));
				break;
			case RAMP_FROCE_REPORT_ID:
				Add_Ramp_Force_PB((uint8_t) USB_Out_Buffer[1],
								(uint16_t) (USB_Out_Buffer[2]
												| (USB_Out_Buffer[3] << 8)),
								(uint16_t) (USB_Out_Buffer[4]
												| (USB_Out_Buffer[5] << 8)));
				break;
			case EFFECT_OPERATION_REPORT_ID:
				//设置Effect的操作报告
				if (USB_Out_Buffer[2] == 1) {
					//Op Effect Begin
					OP_Effect_Start(USB_Out_Buffer[1], USB_Out_Buffer[3]);
				} else if (USB_Out_Buffer[2] == 2) {
					//Op Effect Begin Solo
					OP_Effect_Start_Solo(USB_Out_Buffer[1], USB_Out_Buffer[3]);
				} else if (USB_Out_Buffer[2] == 3) {
					//Op Effect Stop
					OP_Effect_Stop(USB_Out_Buffer[1]);
				}
				break;
			case PID_DEVICE_CONTROL_REPORT_ID:
				//设置PID Device Control

				if ((USB_Out_Buffer[1] >> 0) & 1) {
					//启动所有设备执行器
					DC_Enable_Actuators();
				} else if ((USB_Out_Buffer[1] >> 1) & 1) {
					//关闭所有设备执行器
					DC_Disable_Actuators();
				} else if ((USB_Out_Buffer[1] >> 2) & 1) {
					//停止所有正在进行的Effect
					DC_Effect_Stop_All();
				} else if ((USB_Out_Buffer[1] >> 3) & 1) {
					//清除任何设备暂停状态，启用所有执行器并清除内存中的所有效果。
					DC_Reset();
				} else if ((USB_Out_Buffer[1] >> 4) & 1) {
					//设备上的所有效果都会在当前帧暂停。
					DC_Effect_Pause();
				} else if ((USB_Out_Buffer[1] >> 5) & 1) {
					//设备暂停时运行的所有效果都会从上一个帧重新启动。
					DC_Effect_Continue();
				}

				break;
				//			case CREATE_NEW_EFFECT_PARAMETER_BLOCK_ID:
				//				// 配置Create New Effect Parameter Block Report
				//				//在usbd_custom_hid_if.c中配置
				//				break;
			case EFFECT_PARAMETER_BLOCK_FREE_REPORT_ID:
				//配置Effect Parameter Block Free Report
				Free_Effect_PB(USB_Out_Buffer[1]);
				break;
//			case EFFECT_PARAMETER_BLOCK_LOAD_REPORT_ID:
//				//配置Effect Parameter Block Load Report
//				//在usbd_custom_hid_if.c中配置
//				break;
			case DEVICE_GAIN_REPORT_ID:
				//配置Device Gain Report
				Synthesizer_Global_Gain = (USB_Out_Buffer[2] << 8)
								| USB_Out_Buffer[1];
				break;
			case VMC_REPORT_ID:
				// VMC参数配置相关
				uint64_t Command = USB_Out_Buffer[1];
				uint64_t Parameter = Get_uint64_from_buffer(USB_Out_Buffer, 2); // 获取从 USB 收到的 4 字节参数

				switch (Command) {
				case cmd_steering_wheel_set_center:
					Steering_Wheel.current_angle = 0;
					Steering_Wheel.encoder.pulse_count = 0;
					break;

				case cmd_steering_wheel_set_rotation_range:
					// 处理最大最小值
					Parameter = (uint16_t) Parameter < 30 ? 30U :
								(uint16_t) Parameter > UINT16_MAX ?
												UINT16_MAX :
												(uint16_t) Parameter;
					Steering_Wheel.rotation_range = (uint16_t) Parameter;
					Steering_Wheel.encoder.max_pulses =
									(Steering_Wheel.rotation_range
													* Steering_Wheel.encoder.pulse)
													/ 180;
					break;

				case cmd_steering_wheel_encoder_set_pulse:
					// 处理最大最小值
					Parameter = (uint16_t) Parameter <= 10 ? 10U :
								(uint16_t) Parameter > UINT16_MAX ?
												UINT16_MAX :
												(uint16_t) Parameter;
					Steering_Wheel.encoder.pulse = (uint16_t) Parameter;
					angle_per_pulse = (float_t) (360.0
									/ (Steering_Wheel.encoder.pulse * 4.0));
					break;

				case cmd_accelerator_pedal_set_maximum:
					CMD_Set_uint16((uint16_t*) &Parameter, 0U, UINT16_MAX,
									&Pedal_Limiter.accelerator_pedal_maximum);
					break;

				case cmd_accelerator_pedal_set_minimum:
					CMD_Set_uint16((uint16_t*) &Parameter, 0U, UINT16_MAX,
									&Pedal_Limiter.accelerator_pedal_minimum);
					break;

				case cmd_brake_pedal_set_maximum:
					CMD_Set_uint16((uint16_t*) &Parameter, 0U, UINT16_MAX,
									&Pedal_Limiter.brake_pedal_set_maximum);
					break;

				case cmd_brake_pedal_set_minimum:
					CMD_Set_uint16((uint16_t*) &Parameter, 0U, UINT16_MAX,
									&Pedal_Limiter.brake_pedal_set_minimum);
					break;

				case cmd_clutch_pedal_set_maximum:
					CMD_Set_uint16((uint16_t*) &Parameter, 0U, UINT16_MAX,
									&Pedal_Limiter.clutch_pedal_set_maximum);
					break;

				case cmd_clutch_pedal_set_minimum:
					CMD_Set_uint16((uint16_t*) &Parameter, 0U, UINT16_MAX,
									&Pedal_Limiter.clutch_pedal_set_minimum);
					break;

				case cmd_effect_gain_controller_set_spring_gain:
					CMD_Set_uint16((uint16_t*) &Parameter, 0U, UINT16_MAX,
									&Effect_Gain_Controller.spring_gain);
					break;

				case cmd_effect_gain_controller_set_damper_gain:
					CMD_Set_uint16((uint16_t*) &Parameter, 0U, UINT16_MAX,
									&Effect_Gain_Controller.damper_gain);
					break;

				case cmd_effect_gain_controller_set_friction_gain:
					CMD_Set_uint16((uint16_t*) &Parameter, 0U, UINT16_MAX,
									&Effect_Gain_Controller.friction_gain);
					break;

				case cmd_effect_gain_controller_set_inertia_gain:
					CMD_Set_uint16((uint16_t*) &Parameter, 0U, UINT16_MAX,
									&Effect_Gain_Controller.inertia_gain);
					break;

				case cmd_effect_limiter_set_inertia_limiter:
					CMD_Set_float_from_buffer(USB_Out_Buffer, 2, 0.0f,
					FLT_MAX, &Effect_Limiter.inertia_limiter);
					break;

				case cmd_effect_set_spring_kp:
					CMD_Set_float_from_buffer(USB_Out_Buffer, 2, 0.0f,
					FLT_MAX, &Spring_Kp);
					Spring_PID_Init(&spring_pid, Spring_Kp, Spring_Ki,
									Spring_Kd);
					break;

				case cmd_effect_set_spring_ki:
					CMD_Set_float_from_buffer(USB_Out_Buffer, 2, 0.0f,
					FLT_MAX, &Spring_Ki);
					Spring_PID_Init(&spring_pid, Spring_Kp, Spring_Ki,
									Spring_Kd);
					break;

				case cmd_effect_set_spring_kd:
					CMD_Set_float_from_buffer(USB_Out_Buffer, 2, 0.0f,
					FLT_MAX, &Spring_Kd);
					Spring_PID_Init(&spring_pid, Spring_Kp, Spring_Ki,
									Spring_Kd);
					break;

				case cmd_steering_wheel_software_limiter_set_kp:
					CMD_Set_float_from_buffer(USB_Out_Buffer, 2, 0.0f,
					FLT_MAX, &SL_KP);
					SL_PID_Init(&sl_pid, SL_KP, SL_KI, SL_KD);
					break;

				case cmd_steering_wheel_software_limiter_set_ki:
					CMD_Set_float_from_buffer(USB_Out_Buffer, 2, 0.0f,
					FLT_MAX, &SL_KI);
					SL_PID_Init(&sl_pid, SL_KP, SL_KI, SL_KD);
					break;

				case cmd_steering_wheel_software_limiter_set_kd:
					CMD_Set_float_from_buffer(USB_Out_Buffer, 2, 0.0f,
					FLT_MAX, &SL_KD);
					SL_PID_Init(&sl_pid, SL_KP, SL_KI, SL_KD);
					break;

				case cmd_pwm_global_parameters_set_pwm_gain_multiple:
					CMD_Set_float_from_buffer(USB_Out_Buffer, 2, 0.0f,
					FLT_MAX, &PWM_Global_Parameters.pwm_gain_multiple);
					break;
				case cmd_steering_wheel_software_limiter_set_vibration_feedback_enable:
					SL_Vibration_Feedback.mode = Parameter;
					break;

				case cmd_steering_wheel_software_limiter_set_vibration_feedback_delay:
					CMD_Set_uint16((uint16_t*) &Parameter, 0U, UINT16_MAX,
															&SL_Vibration_Feedback.delay);
					break;
				default:
					// 其他命令
					break;
				}
				break;
			default:
				// Unknown report ID, handle error or ignore
				break;
			}	//End switch

			USB_Out_Flag = 0;
		}
//		osDelay(1);
	}
	/* USER CODE END StartUSBOutputTask */
}

void StartSynthesizerTask(void const *argument) {
	/* USER CODE BEGIN StartSynthesizerTask */
	uint8_t effect_running_flag = 0;
	angle_per_pulse = (float_t) (360.0
					/ ((float_t) Steering_Wheel.encoder.pulse * 4.0));
	SL_PID_Init(&sl_pid, SL_KP, SL_KI, SL_KD);
	Spring_PID_Init(&spring_pid, Spring_Kp, Spring_Ki, Spring_Kd); // 调整参数以适合你的需求
	/* Infinite loop */
	for (;;) {
		Steering_Wheel.current_angle =
						(float_t) (Steering_Wheel.encoder.pulse_count
										* angle_per_pulse);
		if (Actuator_Status == ACTUATOR_RUNNING) {		//当执行器运行时才能开始合成效果
			if ((Steering_Wheel.current_angle
							> (Steering_Wheel.rotation_range / 2))
							|| ((Steering_Wheel.current_angle
											< -(Steering_Wheel.rotation_range
															/ 2)))) {
				uint32_t current_time = HAL_GetTick(); // 获取开始时间
				float_t dt = (current_time - sl_pid_last_time) / 1000.0f;
				// 应用PID控制
				float_t pid_output = SL_PID_Compute(&sl_pid,
								Steering_Wheel.current_angle > 0 ?
												(Steering_Wheel.rotation_range
																/ 2) :
												-(Steering_Wheel.rotation_range
																/ 2),
								(float_t) Steering_Wheel.current_angle, dt);
				sl_pid_last_time = current_time;
				if (pid_output > MAX_FORCE) {
					pid_output =
					MAX_FORCE;
				} else if (pid_output < -MAX_FORCE) {
					pid_output = -MAX_FORCE;
				}
				Set_PWM_Value(pid_output);

				if (SL_Vibration_Feedback.mode
								== SL_Vibration_Feedback_CONSTANT) {
					osDelay(SL_Vibration_Feedback.delay);
					Set_PWM_Value(-pid_output);
				}
			} else {
				//sl_pid_last_time = 0;

				if (DC_Effect_Status != DC_EFFECT_PAUSED) {	//只要效果没有暂停就一直运行
					for (uint8_t i = 0; i < PB_POOL_ARRAY_SIZE; i++) {
						if (PB_pool[i].effect_state == EFFECT_RUNNING) {//必须有还在运行的效果才能合成
							effect_running_flag = 1;
							break;
						} else {
							effect_running_flag = 0;
						}
					}
					if (effect_running_flag) {

						Synthesize_Effects_To_PWM();
					} else {
						if (Is_PWM_Running()) {
							Clear_PWM();
						}
					}

				}
			}
		}
		osDelay(1);
	}
	/* USER CODE END StartSynthesizerTask */
}

void StartUSBInputTask(void const *argument) {
	/* USER CODE BEGIN StartUSBInputTask */
	Steering_Wheel.encoder.max_pulses = (Steering_Wheel.rotation_range
					* Steering_Wheel.encoder.pulse) / 180;		// 180=360/2
	HAL_ADC_Start_DMA(&hadc1, (uint32_t*) adc_values, 3);
	/* Infinite loop */
	for (;;) {
		switch (Current_Report_ID) {
		case INPUT_REPORT_ID:
			Input_Report.buttons = Read_Keys();

//		Input_Report.steering = (int16_t) ((Steering_Wheel.encoder.pulse_count
//						* STEERING_WHEEL_AXES_MAX_VALUE)
//						/ Steering_Wheel.encoder.max_pulses);

			if (Steering_Wheel.encoder.pulse_count
							> Steering_Wheel.encoder.max_pulses) {
				Steering_Wheel.encoder.clamped_pulse_count =
								Steering_Wheel.encoder.max_pulses;
			} else if (Steering_Wheel.encoder.pulse_count
							< -Steering_Wheel.encoder.max_pulses) {
				Steering_Wheel.encoder.clamped_pulse_count =
								-Steering_Wheel.encoder.max_pulses;
			} else {
				Steering_Wheel.encoder.clamped_pulse_count =
								Steering_Wheel.encoder.pulse_count;
			}

			Input_Report.steering =
							(int16_t) ((Steering_Wheel.encoder.clamped_pulse_count
											* STEERING_WHEEL_AXES_MAX_VALUE)
											/ Steering_Wheel.encoder.max_pulses);

			SendReport(Input_Report);
			break;
		case VMC_RESPONDING_REPORT_ID:
			for (uint8_t i = 0; i < 10; i++) {
				SendReport(Responding_Report);
			}
			// 发送完返回，继续发送InputReport
			Current_Report_ID = INPUT_REPORT_ID;
			break;

		}
//		osDelay(1);
	}
	/* USER CODE END StartUSBInputTask */
}

void HAL_TIM_PeriodElapsedCallback(TIM_HandleTypeDef *htim) {
	if (htim->Instance == TIM3) {
		HAL_IncTick();
	}
}

void Error_Handler(void) {
	__disable_irq();
	while (1) {
	}
}
